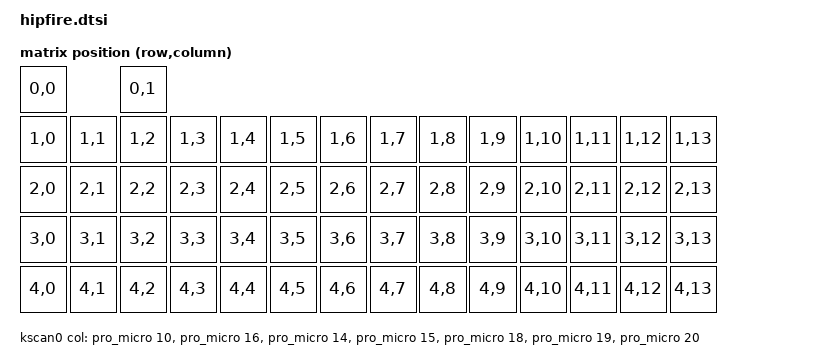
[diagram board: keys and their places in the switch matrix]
#include <dt-bindings/zmk/matrix_transform.h>
#include "hipfire-layouts.dtsi"

//Use this file  to reduce duplication between overlays

/ {
    chosen {
        zmk,kscan = &kscan0;
        zmk,matrix_transform = &default_transform;
        // Other chosen items
    };
};

/ {
    kscan0: kscan0 {
        compatible = "zmk,kscan-gpio-matrix";
        diode-direction = "col2row";
        wakeup-source;

        col-gpios
            = <&pro_micro 10 GPIO_ACTIVE_HIGH>
            , <&pro_micro 16 GPIO_ACTIVE_HIGH>
            , <&pro_micro 14 GPIO_ACTIVE_HIGH>
            , <&pro_micro 15 GPIO_ACTIVE_HIGH>
            , <&pro_micro 18 GPIO_ACTIVE_HIGH>
            , <&pro_micro 19 GPIO_ACTIVE_HIGH>
            , <&pro_micro 20 GPIO_ACTIVE_HIGH>
            ;
    };
};

&physical_layout0 {
    //kscan property only needs to be assigned if some of your physical layouts use different kscans
    kscan = <&kscan0>;
    transform = <&default_transform>;
};

/ {
    default_transform: keymap_transform0 {
        compatible = "zmk,matrix-transform";
        columns = <14>;
        rows = <5>;
        map = <
        //  LKey F       RKey U 
            RC(0,0)      RC(0,1) //TODO FINISH FILLING OUT
        //  LKey BL      
            RC(1,0) RC(1,1) RC(1,2) RC(1,3) RC(1,4) RC(1,5) RC(1,6) RC(1,7) RC(1,8) RC(1,9) RC(1,10) RC(1,11) RC(1,12) RC(1,13)
            RC(2,0) RC(2,1) RC(2,2) RC(2,3) RC(2,4) RC(2,5) RC(2,6) RC(2,7) RC(2,8) RC(2,9) RC(2,10) RC(2,11) RC(2,12) RC(2,13)
            RC(3,0) RC(3,1) RC(3,2) RC(3,3) RC(3,4) RC(3,5) RC(3,6) RC(3,7) RC(3,8) RC(3,9) RC(3,10) RC(3,11) RC(3,12) RC(3,13)
            RC(4,0) RC(4,1) RC(4,2) RC(4,3) RC(4,4) RC(4,5) RC(4,6) RC(4,7) RC(4,8) RC(4,9) RC(4,10) RC(4,11) RC(4,12) RC(4,13)   
            




        >;
    };
};
